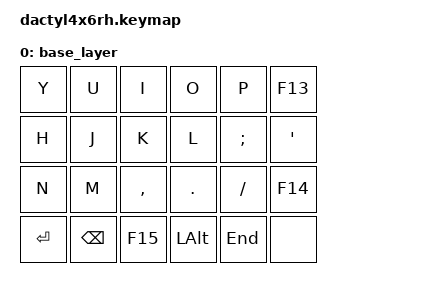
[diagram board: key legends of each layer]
#include <behaviors.dtsi>
#include <dt-bindings/zmk/keys.h>

/*
 * Bring-up keymap: right half alone over USB. Layer keys are replaced by F13-F15
 * so every switch emits something visible in a key tester.
 */
/ {
    keymap {
        compatible = "zmk,keymap";

        base_layer {
            bindings = <
                &kp Y     &kp U      &kp I      &kp O      &kp P      &kp F13
                &kp H     &kp J      &kp K      &kp L      &kp SEMI   &kp SQT
                &kp N     &kp M      &kp COMMA  &kp DOT    &kp SLASH  &kp F14
                &kp ENTER &kp BSPC   &kp F15    &kp LALT   &kp END    &none
            >;
        };
    };
};
